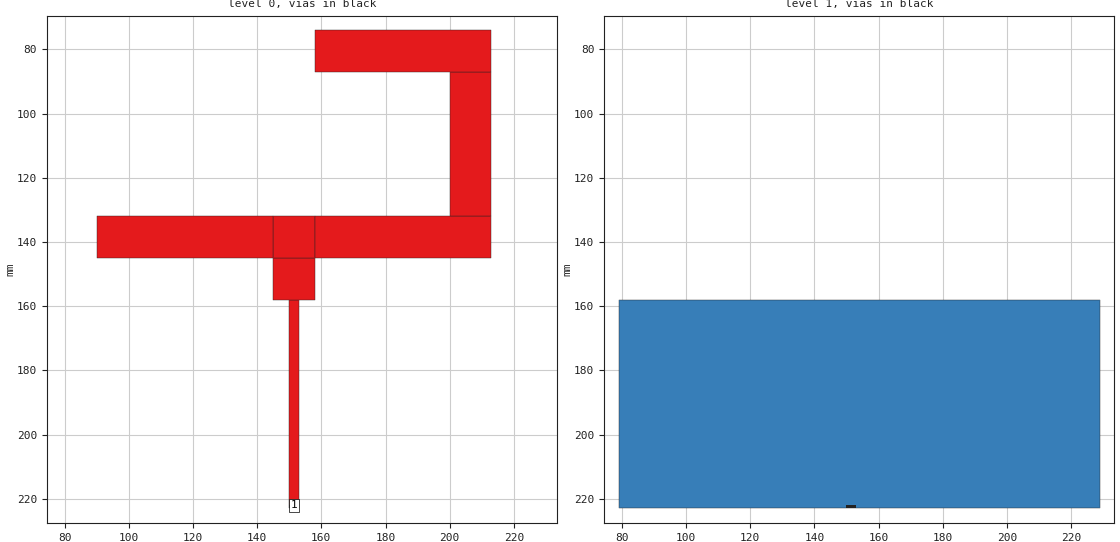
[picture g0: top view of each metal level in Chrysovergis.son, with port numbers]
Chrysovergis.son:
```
FTYP SONPROJ 3 ! Sonnet Project File
VER 11.54
HEADER
LIC Sonn.1.12345
DAT 05/21/2016 18:54:22
BUILT_BY_CREATED xgeom 11.54 05/15/2016 15:53:35
BUILT_BY_SAVED xgeom 11.54
MDATE 05/21/2016 18:54:22
HDATE 05/21/2016 18:54:22
END HEADER
DIM
FREQ GHZ
IND NH
LNG MM
ANG DEG
CON /OH
CAP PF
RES OH
END DIM
FREQ
ABS 0.1 1.0 
END FREQ
CONTROL
ABS
OPTIONS  -d 
SPEED 0
CACHE_ABS 1
TARG_ABS 300
Q_ACC N
END CONTROL
GEO
TMET "Free Space" 0 FREESPACE 376.7303136 0 0 0
BMET "Free Space" 0 FREESPACE 376.7303136 0 0 0
BOX 2 300 300 600 600 20 0
      20 1 1 0 0 0 0 "Air"
      1.6 4.2 1 0.02 0 0 0 "FR4"
      20 1 1 0 0 0 0 "Air"
POR1 STD
POLY 8 1
0
1 50 0 0 0 151.5000009 222.0000007 
NUM 9
VIA POLYGON
0 5 -1 N 8 1 1 100 100 0 0 0 Y
TOLEVEL 1
150.0000009 222.0000007
153.0000009 222.0000007
153.0000009 223.0000007
150.0000009 223.0000007
150.0000009 222.0000007
END
0 5 -1 N 29 1 1 100 100 0 0 0 Y
150.0000074 158.0000077
153.0000074 158.0000077
153.0000074 223.0000077
150.0000074 223.0000077
150.0000074 158.0000077
END
0 5 -1 N 50 1 1 100 100 0 0 0 Y
145.0000014 145.0000022
158.0000014 145.0000022
158.0000014 158.0000022
145.0000014 158.0000022
145.0000014 145.0000022
END
0 5 -1 N 51 1 1 100 100 0 0 0 Y
145.0000014 132.0000022
158.0000014 132.0000022
158.0000014 145.0000022
145.0000014 145.0000022
145.0000014 132.0000022
END
0 5 -1 N 127 1 1 100 100 0 0 0 Y
158.0000074 132.0000001
213.0000074 132.0000001
213.0000074 145.0000001
158.0000074 145.0000001
158.0000074 132.0000001
END
0 5 -1 N 128 1 1 100 100 0 0 0 Y
90.0000074 132.0000001
145.0000074 132.0000001
145.0000074 145.0000001
90.0000074 145.0000001
90.0000074 132.0000001
END
0 5 -1 N 131 1 1 100 100 0 0 0 Y
199.9999925 87.00000093
212.9999925 87.00000093
212.9999925 132.0000009
199.9999925 132.0000009
199.9999925 87.00000093
END
0 5 -1 N 132 1 1 100 100 0 0 0 Y
158.0000074 74.0000001
213.0000074 74.0000001
213.0000074 87.0000001
158.0000074 87.0000001
158.0000074 74.0000001
END
1 5 -1 N 68 1 1 100 100 0 0 0 Y
78.99999713 157.9999938
228.9999971 157.9999938
228.9999971 222.9999938
78.99999713 222.9999938
78.99999713 157.9999938
END
END GEO
OPT
MAX 100
VARS
END OPT
VARSWP
END VARSWP
QSG
IMPORT NO
EXTRA_METAL NO
UNITS YES
ALIGN NO
REF NO
VIEW_RES NO
METALS NO
USED YES
END QSG
```
